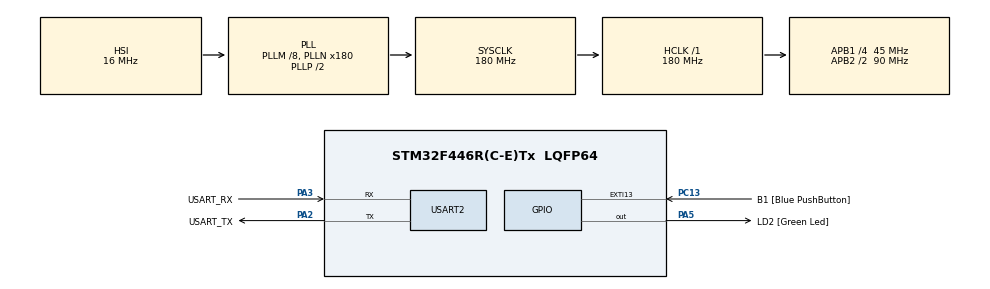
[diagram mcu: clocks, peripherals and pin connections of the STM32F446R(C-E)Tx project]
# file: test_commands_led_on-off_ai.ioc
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Mcu.Family=STM32F4
Mcu.Name=STM32F446R(C-E)Tx
Mcu.Package=LQFP64
NVIC.PriorityGroup=NVIC_PRIORITYGROUP_0
PA13.GPIO_Label=TMS
PA13.Mode=Serial_Wire
PA13.Signal=SYS_JTMS-SWDIO
PA14.GPIO_Label=TCK
PA14.Mode=Serial_Wire
PA14.Signal=SYS_JTCK-SWCLK
PA2.GPIO_Label=USART_TX
PA2.Mode=Asynchronous
PA2.Signal=USART2_TX
PA3.GPIO_Label=USART_RX
PA3.Mode=Asynchronous
PA3.Signal=USART2_RX
PA5.GPIO_Label=LD2 [Green Led]
PA5.Signal=GPIO_Output
PB3.GPIO_Label=SWO
PB3.Signal=SYS_JTDO-SWO
PC13.GPIO_Label=B1 [Blue PushButton]
PC13.GPIO_ModeDefaultEXTI=GPIO_MODE_IT_FALLING
PC13.Signal=GPXTI13
PC14-OSC32_IN.Mode=LSE-External-Oscillator
PC14-OSC32_IN.Signal=RCC_OSC32_IN
PC15-OSC32_OUT.Mode=LSE-External-Oscillator
PC15-OSC32_OUT.Signal=RCC_OSC32_OUT
PH0-OSC_IN.Mode=HSE-External-Oscillator
PH0-OSC_IN.Signal=RCC_OSC_IN
PH1-OSC_OUT.Mode=HSE-External-Oscillator
PH1-OSC_OUT.Signal=RCC_OSC_OUT
ProjectManager.HeapSize=0x200
ProjectManager.StackSize=0x400
ProjectManager.TargetToolchain=STM32CubeIDE
RCC.48MHZClocksFreq_Value=84000000
RCC.AHBFreq_Value=180000000
RCC.APB1CLKDivider=RCC_HCLK_DIV4
RCC.APB1Freq_Value=45000000
RCC.APB1TimFreq_Value=90000000
RCC.APB2CLKDivider=RCC_HCLK_DIV2
RCC.APB2Freq_Value=90000000
RCC.APB2TimFreq_Value=180000000
RCC.CortexFreq_Value=180000000
RCC.FLatency-AdvancedSettings=FLASH_LATENCY_5
RCC.HCLKFreq_Value=180000000
RCC.HSE_VALUE=8000000
RCC.HSI_VALUE=16000000
RCC.PLLM=8
RCC.PLLN=180
RCC.PLLP=2
RCC.SYSCLKFreq_VALUE=180000000
RCC.SYSCLKSource=RCC_SYSCLKSOURCE_PLLCLK
RCC.USBFreq_Value=180000000
RCC.VCOOutputFreq_Value=360000000
STMicroelectronics.X-CUBE-AI.10.2.0.ActivationBufferSizeList=1688
STMicroelectronics.X-CUBE-AI.10.2.0.ActivationBuffers=pool0
STMicroelectronics.X-CUBE-AI.10.2.0.ActivationNames=pool0
STMicroelectronics.X-CUBE-AI.10.2.0.ActivationSizes=AI_COMMANDS_MODEL_DATA_ACTIVATION_1_SIZE
STMicroelectronics.X-CUBE-AI.10.2.0.HeapSize=0x800
STMicroelectronics.X-CUBE-AI.10.2.0.InternalRamActivationBufferMaxSize=AI_COMMANDS_MODEL_DATA_ACTIVATIONS_SIZE
STMicroelectronics.X-CUBE-AI.10.2.0.LatestDirectoryUsed-431c97a011d0be2cfb2b922dd4229158b7a5b3739c6487ef3c07a4f91350cc84=E\:\\TinyML project\\input commands model for led
STMicroelectronics.X-CUBE-AI.10.2.0.MaximumNumberOfInputLayer=1
STMicroelectronics.X-CUBE-AI.10.2.0.MaximumNumberOfOutputLayer=1
STMicroelectronics.X-CUBE-AI.10.2.0.MaximumSizeOfInputLayer=1
STMicroelectronics.X-CUBE-AI.10.2.0.MaximumSizeOfOutputLayer=1
STMicroelectronics.X-CUBE-AI.10.2.0.ModelActualCompression-431c97a011d0be2cfb2b922dd4229158b7a5b3739c6487ef3c07a4f91350cc84=0.0
STMicroelectronics.X-CUBE-AI.10.2.0.ModelCompression-431c97a011d0be2cfb2b922dd4229158b7a5b3739c6487ef3c07a4f91350cc84=None
STMicroelectronics.X-CUBE-AI.10.2.0.ModelFlashOccupation-431c97a011d0be2cfb2b922dd4229158b7a5b3739c6487ef3c07a4f91350cc84=12508
STMicroelectronics.X-CUBE-AI.10.2.0.ModelHashList=431c97a011d0be2cfb2b922dd4229158b7a5b3739c6487ef3c07a4f91350cc84
STMicroelectronics.X-CUBE-AI.10.2.0.ModelKind-431c97a011d0be2cfb2b922dd4229158b7a5b3739c6487ef3c07a4f91350cc84=TFLITE
STMicroelectronics.X-CUBE-AI.10.2.0.ModelMacc-431c97a011d0be2cfb2b922dd4229158b7a5b3739c6487ef3c07a4f91350cc84=656
STMicroelectronics.X-CUBE-AI.10.2.0.ModelName-431c97a011d0be2cfb2b922dd4229158b7a5b3739c6487ef3c07a4f91350cc84=commands_model
STMicroelectronics.X-CUBE-AI.10.2.0.ModelNameList=commands_model
STMicroelectronics.X-CUBE-AI.10.2.0.ModelRamOccupation-431c97a011d0be2cfb2b922dd4229158b7a5b3739c6487ef3c07a4f91350cc84=1688
STMicroelectronics.X-CUBE-AI.10.2.0.ModelStructureFile-431c97a011d0be2cfb2b922dd4229158b7a5b3739c6487ef3c07a4f91350cc84=E\:\\TinyML project\\input commands model for led\\model.tflite
STMicroelectronics.X-CUBE-AI.10.2.0.ModelType-431c97a011d0be2cfb2b922dd4229158b7a5b3739c6487ef3c07a4f91350cc84=STM32Cube.AI MCU runtime
STMicroelectronics.X-CUBE-AI.10.2.0.ReadyForCodeGeneration=true
STMicroelectronics.X-CUBE-AI.10.2.0.StackSize=0x800
STMicroelectronics.X-CUBE-AI.10.2.0.WorkingBufferStartAddrList=0xFFFFFFFF
STMicroelectronics.X-CUBE-AI.10.2.0.XAaCUBEAaAICcArtificialOoIntelligenceJjCore=true
STMicroelectronics.X-CUBE-AI.10.2.0.copyWeightToRam=false
STMicroelectronics.X-CUBE-AI.10.2.0.customLayerConfigEnabled=false
STMicroelectronics.X-CUBE-AI.10.2.0.noOnnxIoTranspose=false
STMicroelectronics.X-CUBE-AI.10.2.0.useInputAllocation=true
STMicroelectronics.X-CUBE-AI.10.2.0.useOutputAllocation=true
TIM14.Prescaler=180-1
USART2.VirtualMode=VM_ASYNC
VP_STMicroelectronics.X-CUBE-AI_VS_ArtificialOoIntelligenceJjXAaCUBEAaAI_10.2.0.Mode=ArtificialOoIntelligenceJjXAaCUBEAaAI
VP_TIM14_VS_ClockSourceINT.Mode=Enable_Timer
board=NUCLEO-F446RE

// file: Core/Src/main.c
/* USER CODE BEGIN Header */
/**
  ******************************************************************************
  * @file           : main.c
  * @brief          : Main program body
  ******************************************************************************
  * @attention
  *
  * Copyright (c) 2026 STMicroelectronics.
  * All rights reserved.
  *
  * This software is licensed under terms that can be found in the LICENSE file
  * in the root directory of this software component.
  * If no LICENSE file comes with this software, it is provided AS-IS.
  *
  ******************************************************************************
  */
/* USER CODE END Header */
#include "main.h"

/* USER CODE BEGIN Includes */
#include "stdio.h"
#include <string.h>
#include <ctype.h>
#include "ai_datatypes_defines.h"
#include "ai_platform.h"
#include "commands_model.h"
#include "commands_model_data.h"
/* USER CODE END Includes */

TIM_HandleTypeDef htim14;

UART_HandleTypeDef huart2;

void SystemClock_Config(void);
static void MX_GPIO_Init(void);
static void MX_USART2_UART_Init(void);
static void MX_TIM14_Init(void);

/* USER CODE BEGIN 0 */
#define VOCAB_SIZE 33

// Define a struct to map a word to its array index
typedef struct {
    const char* word;
    int index;
} VocabEntry;

// Your exact vocabulary mapped to C
const VocabEntry vocabulary[VOCAB_SIZE] = {
    {"7ell", 0},
    {"activate", 1},
    {"can", 2},
    {"cha3el", 3},
    {"check", 4},
    {"chnowa", 5},
    {"current", 6},
    {"deactivate", 7},
    {"disable", 8},
    {"el", 9},
    {"enable", 10},
    {"give", 11},
    {"info", 12},
    {"is", 13},
    {"led", 14},
    {"light", 15},
    {"off", 16},
    {"on", 17},
    {"please", 18},
    {"power", 19},
    {"running", 20},
    {"sakker", 21},
    {"start", 22},
    {"state", 23},
    {"status", 24},
    {"stop", 25},
    {"switch", 26},
    {"system", 27},
    {"taffi", 28},
    {"the", 29},
    {"turn", 30},
    {"what", 31},
    {"you", 32}
};

// Converts the raw string into a tensor array for X-Cube-AI
void count_vectorizer(char *input_string, ai_float *tensor_out, int vocab_size) {
    // 1. Initialize the entire input tensor to 0.0
    for(int i = 0; i < vocab_size; i++) {
        tensor_out[i] = 0.0f;
    }

    // 2. Convert string to lowercase
    for(int i = 0; input_string[i]; i++) {
        input_string[i] = tolower((unsigned char)input_string[i]);
    }

    // 3. Tokenize (split by spaces and punctuation)
    const char *delimiters = " \t\n\r.,;:!?()\"{}";
    char *token = strtok(input_string, delimiters);

    // 4. Count words and map to tensor
    while(token != NULL) {
        // Look up the word in our vocabulary dictionary
        for(int i = 0; i < vocab_size; i++) {
            if(strcmp(token, vocabulary[i].word) == 0) {
                // Increment the count at the correct index
                tensor_out[vocabulary[i].index] += 1.0f;
                break; // Word found, stop searching the dictionary
            }
        }
        // Get the next word
        token = strtok(NULL, delimiters);
    }
}
/* USER CODE END 0 */

int main(void)
{

  /* USER CODE BEGIN 1 */
	char buf[150];
	int buf_len = 0;
	ai_error ai_err;
	ai_i32 nbatch;

	// UART receiving variables
	char rx_buf[100];
	uint8_t rx_idx = 0;
	uint8_t rx_byte;
	uint8_t cmd_ready = 0;

	// Chunk of memory used to hold intermediate values for neural network
	AI_ALIGNED(4) ai_u8 activations[AI_COMMANDS_MODEL_DATA_ACTIVATIONS_SIZE];

	// Buffers used to store input and output tensors
	AI_ALIGNED(4) ai_i8 in_data[AI_COMMANDS_MODEL_IN_1_SIZE_BYTES];
	AI_ALIGNED(4) ai_i8 out_data[AI_COMMANDS_MODEL_OUT_1_SIZE_BYTES];

	// Pointer to our model
	ai_handle commands_model = AI_HANDLE_NULL;

	// Initialize wrapper structs that hold pointers to data and info about the data
	ai_buffer *ai_input;
	ai_buffer *ai_output;

	// Set working memory and get weights/biases from model
	ai_network_params ai_params = {
	AI_COMMANDS_MODEL_DATA_WEIGHTS(ai_commands_model_data_weights_get()),
	AI_COMMANDS_MODEL_DATA_ACTIVATIONS(activations)
	};

  /* USER CODE END 1 */

  /* MCU Configuration--------------------------------------------------------*/

  /* Reset of all peripherals, Initializes the Flash interface and the Systick. */
  HAL_Init();

  /* Configure the system clock */
  SystemClock_Config();

  /* Initialize all configured peripherals */
  MX_GPIO_Init();
  MX_USART2_UART_Init();
  MX_TIM14_Init();
  /* USER CODE BEGIN 2 */
  buf_len = sprintf(buf, "\r\n\r\nSTM32 Command Model Initializing...\r\n");
  HAL_UART_Transmit(&huart2, (uint8_t *)buf, buf_len, 100);

	// Create instance of neural network
	ai_err = ai_commands_model_create(&commands_model, AI_COMMANDS_MODEL_DATA_CONFIG);
	if (ai_err.type != AI_ERROR_NONE)
	{
	  buf_len = sprintf(buf, "Error: could not create NN instance\r\n");
	  HAL_UART_Transmit(&huart2, (uint8_t *)buf, buf_len, 100);
	  while(1);
	}

	// Initialize neural network
	if (!ai_commands_model_init(commands_model, &ai_params))
	{
	buf_len = sprintf(buf, "Error: could not initialize NN\r\n");
	HAL_UART_Transmit(&huart2, (uint8_t *)buf, buf_len, 100);
	while(1);
	}
	ai_input = ai_commands_model_inputs_get(commands_model, NULL);
	ai_output = ai_commands_model_outputs_get(commands_model, NULL);

	// Tell the model to use our allocated in_data and out_data arrays
	ai_input[0].data = AI_HANDLE_PTR(in_data);
	ai_output[0].data = AI_HANDLE_PTR(out_data);

	buf_len = sprintf(buf, "Model Ready. Send a command...\r\n");
	HAL_UART_Transmit(&huart2, (uint8_t *)buf, buf_len, 100);
  /* USER CODE END 2 */

  /* Infinite loop */
  /* USER CODE BEGIN WHILE */
  while (1)
  {
	if (HAL_UART_Receive(&huart2, &rx_byte, 1, 0) == HAL_OK)
	  {
		// If we receive a carriage return or newline, the command is finished
		if (rx_byte == '\r' || rx_byte == '\n')
		{
		  if (rx_idx > 0)
		  {
			rx_buf[rx_idx] = '\0'; // Null-terminate the string
			cmd_ready = 1;         // Flag that we are ready to process
		  }
		}
		else
		{
		  // Add character to buffer if there is space
		  if (rx_idx < sizeof(rx_buf) - 1)
		  {
			HAL_UART_Transmit(&huart2, &rx_byte, 1, 100);
			rx_buf[rx_idx++] = rx_byte;
		  }
		}
	  }
	if (cmd_ready){
		buf_len = sprintf(buf, "\r\nProcessing: '%s'\r\n", rx_buf);
		HAL_UART_Transmit(&huart2, (uint8_t *)buf, buf_len, 100);

		// Convert the string into the 33-number float array
		count_vectorizer(rx_buf, (ai_float *)in_data, VOCAB_SIZE);

		// Perform inference
		nbatch = ai_commands_model_run(commands_model, ai_input, ai_output);
		if (nbatch != 1) {
			buf_len = sprintf(buf, "Error: could not run inference\r\n");
			HAL_UART_Transmit(&huart2, (uint8_t *)buf, buf_len, 100);
		}
		float prob_on  = ((ai_float *)out_data)[0];   //  Index 0 is "ON"
		float prob_off = ((ai_float *)out_data)[1];   // Index 1 is "OFF"
		float prob_stat = ((ai_float *)out_data)[2]; // Index 2 is "Status"

		if(prob_on > 0.70f){
			HAL_GPIO_WritePin(GPIOA, GPIO_PIN_5, GPIO_PIN_SET);
		}
		else if(prob_off > 0.70f){
			HAL_GPIO_WritePin(GPIOA, GPIO_PIN_5, GPIO_PIN_RESET);
		}
		else if(prob_stat >0.70f){
			if (HAL_GPIO_ReadPin(GPIOA, GPIO_PIN_5) == GPIO_PIN_SET){
				buf_len = sprintf(buf, "LED is ON\r\n");
				HAL_UART_Transmit(&huart2, (uint8_t *)buf, buf_len, 100);
			}
			else if (HAL_GPIO_ReadPin(GPIOA, GPIO_PIN_5) == GPIO_PIN_RESET){
				buf_len = sprintf(buf, "LED is OFF\r\n");
				HAL_UART_Transmit(&huart2, (uint8_t *)buf, buf_len, 100);
			}

		}
		memset(rx_buf, 0, sizeof(rx_buf));
		rx_idx = 0;
		cmd_ready = 0;
	}
    /* USER CODE END WHILE */

  }
}

void SystemClock_Config(void)
{
  RCC_OscInitTypeDef RCC_OscInitStruct = {0};
  RCC_ClkInitTypeDef RCC_ClkInitStruct = {0};

  /** Configure the main internal regulator output voltage
  */
  __HAL_RCC_PWR_CLK_ENABLE();
  __HAL_PWR_VOLTAGESCALING_CONFIG(PWR_REGULATOR_VOLTAGE_SCALE1);

  /** Initializes the RCC Oscillators according to the specified parameters
  * in the RCC_OscInitTypeDef structure.
  */
  RCC_OscInitStruct.OscillatorType = RCC_OSCILLATORTYPE_HSI;
  RCC_OscInitStruct.HSIState = RCC_HSI_ON;
  RCC_OscInitStruct.HSICalibrationValue = RCC_HSICALIBRATION_DEFAULT;
  RCC_OscInitStruct.PLL.PLLState = RCC_PLL_ON;
  RCC_OscInitStruct.PLL.PLLSource = RCC_PLLSOURCE_HSI;
  RCC_OscInitStruct.PLL.PLLM = 8;
  RCC_OscInitStruct.PLL.PLLN = 180;
  RCC_OscInitStruct.PLL.PLLP = 2;
  RCC_OscInitStruct.PLL.PLLQ = 2;
  RCC_OscInitStruct.PLL.PLLR = 2;
  if (HAL_RCC_OscConfig(&RCC_OscInitStruct) != HAL_OK)
  {
    Error_Handler();
  }

  /** Activate the Over-Drive mode
  */
  if (HAL_PWREx_EnableOverDrive() != HAL_OK)
  {
    Error_Handler();
  }

  /** Initializes the CPU, AHB and APB buses clocks
  */
  RCC_ClkInitStruct.ClockType = RCC_CLOCKTYPE_HCLK|RCC_CLOCKTYPE_SYSCLK
                              |RCC_CLOCKTYPE_PCLK1|RCC_CLOCKTYPE_PCLK2;
  RCC_ClkInitStruct.SYSCLKSource = RCC_SYSCLKSOURCE_PLLCLK;
  RCC_ClkInitStruct.AHBCLKDivider = RCC_SYSCLK_DIV1;
  RCC_ClkInitStruct.APB1CLKDivider = RCC_HCLK_DIV4;
  RCC_ClkInitStruct.APB2CLKDivider = RCC_HCLK_DIV2;

  if (HAL_RCC_ClockConfig(&RCC_ClkInitStruct, FLASH_LATENCY_5) != HAL_OK)
  {
    Error_Handler();
  }
}

static void MX_TIM14_Init(void)
{

  htim14.Instance = TIM14;
  htim14.Init.Prescaler = 180-1;
  htim14.Init.CounterMode = TIM_COUNTERMODE_UP;
  htim14.Init.Period = 65535;
  htim14.Init.ClockDivision = TIM_CLOCKDIVISION_DIV1;
  htim14.Init.AutoReloadPreload = TIM_AUTORELOAD_PRELOAD_DISABLE;
  if (HAL_TIM_Base_Init(&htim14) != HAL_OK)
  {
    Error_Handler();
  }

}

static void MX_USART2_UART_Init(void)
{

  huart2.Instance = USART2;
  huart2.Init.BaudRate = 115200;
  huart2.Init.WordLength = UART_WORDLENGTH_8B;
  huart2.Init.StopBits = UART_STOPBITS_1;
  huart2.Init.Parity = UART_PARITY_NONE;
  huart2.Init.Mode = UART_MODE_TX_RX;
  huart2.Init.HwFlowCtl = UART_HWCONTROL_NONE;
  huart2.Init.OverSampling = UART_OVERSAMPLING_16;
  if (HAL_UART_Init(&huart2) != HAL_OK)
  {
    Error_Handler();
  }

}

static void MX_GPIO_Init(void)
{
  GPIO_InitTypeDef GPIO_InitStruct = {0};

  /* GPIO Ports Clock Enable */
  __HAL_RCC_GPIOC_CLK_ENABLE();
  __HAL_RCC_GPIOH_CLK_ENABLE();
  __HAL_RCC_GPIOA_CLK_ENABLE();
  __HAL_RCC_GPIOB_CLK_ENABLE();

  /*Configure GPIO pin Output Level */
  HAL_GPIO_WritePin(LD2_GPIO_Port, LD2_Pin, GPIO_PIN_RESET);

  /*Configure GPIO pin : B1_Pin */
  GPIO_InitStruct.Pin = B1_Pin;
  GPIO_InitStruct.Mode = GPIO_MODE_IT_FALLING;
  GPIO_InitStruct.Pull = GPIO_NOPULL;
  HAL_GPIO_Init(B1_GPIO_Port, &GPIO_InitStruct);

  /*Configure GPIO pin : LD2_Pin */
  GPIO_InitStruct.Pin = LD2_Pin;
  GPIO_InitStruct.Mode = GPIO_MODE_OUTPUT_PP;
  GPIO_InitStruct.Pull = GPIO_NOPULL;
  GPIO_InitStruct.Speed = GPIO_SPEED_FREQ_LOW;
  HAL_GPIO_Init(LD2_GPIO_Port, &GPIO_InitStruct);

}

void Error_Handler(void)
{
  __disable_irq();
  while (1)
  {
  }
}
